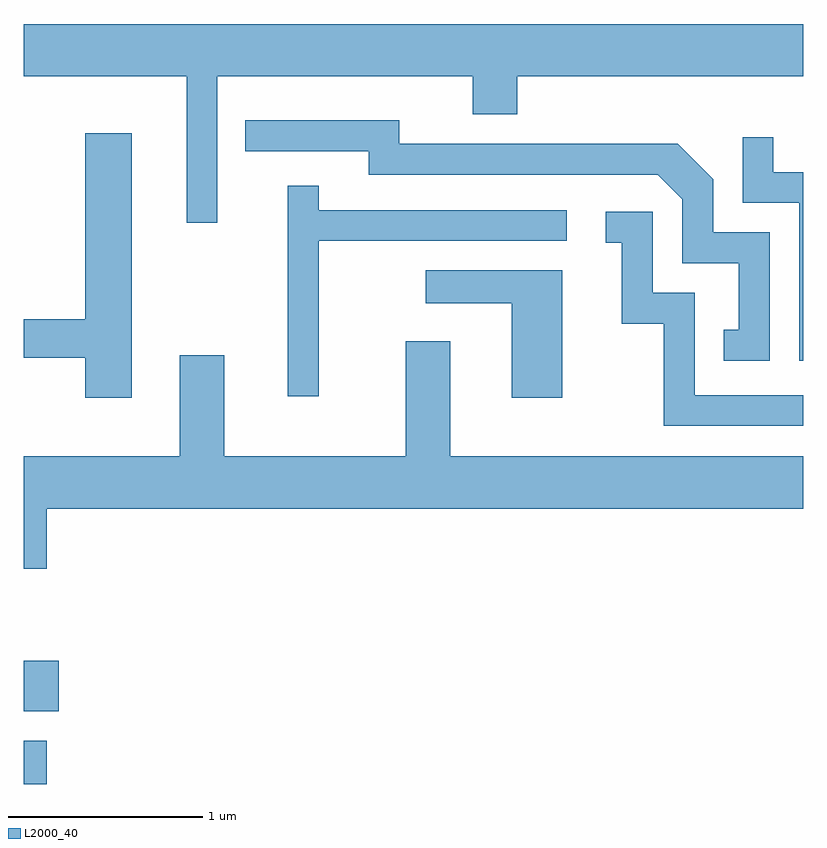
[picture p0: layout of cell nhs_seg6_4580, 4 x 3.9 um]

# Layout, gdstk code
import gdstk
lib = gdstk.Library(unit=1e-6, precision=1e-09)
def R(c, l, rs):  # rectangles x0, y0, x1, y1
    for r in rs: c.add(gdstk.rectangle(r[:2], r[2:], *l))
def P(c, l, *ps):  # polygons
    for p in ps: c.add(gdstk.Polygon(p, *l))
L2000_40 = (2000, 40)

nhs_seg6_4580 = lib.new_cell('nhs_seg6_4580')
R(nhs_seg6_4580, L2000_40, [(325.611,1564.162,325.729,1564.384), (325.611,1564.536,325.789,1564.794)])
P(nhs_seg6_4580, L2000_40, [(326.604,1567.796),(327.916,1567.796),(327.916,1567.601),(328.144,1567.601),(328.144,1567.796),(329.611,1567.796),(329.611,1568.064),(325.611,1568.064),(325.611,1567.796),(326.446,1567.796),(326.446,1567.043),(326.604,1567.043)],
  [(329.439,1566.994),(329.149,1566.994),(329.149,1567.267),(328.967,1567.449),(327.539,1567.449),(327.539,1567.569),(326.748,1567.569),(326.748,1567.411),(327.381,1567.411),(327.381,1567.291),(328.864,1567.291),(328.991,1567.164),(328.991,1566.836),(329.281,1566.836),(329.281,1566.494),(329.203,1566.494),(329.203,1566.336),(329.439,1566.336)],
  [(326.164,1567.504),(325.926,1567.504),(325.926,1566.549),(325.611,1566.549),(325.611,1566.351),(325.926,1566.351),(325.926,1566.146),(326.164,1566.146)],
  [(329.611,1567.304),(329.459,1567.304),(329.459,1567.483),(329.301,1567.483),(329.301,1567.146),(329.591,1567.146),(329.591,1566.336),(329.611,1566.336)],
  [(327.124,1566.951),(328.398,1566.951),(328.398,1567.109),(327.124,1567.109),(327.124,1567.233),(326.966,1567.233),(326.966,1566.153),(327.124,1566.153)],
  [(329.611,1566.159),(329.054,1566.159),(329.054,1566.684),(328.839,1566.684),(328.839,1567.099),(328.598,1567.099),(328.598,1566.941),(328.681,1566.941),(328.681,1566.526),(328.896,1566.526),(328.896,1566.001),(329.611,1566.001)],
  [(328.374,1566.799),(327.673,1566.799),(327.673,1566.631),(328.116,1566.631),(328.116,1566.146),(328.374,1566.146)],
  [(325.729,1565.576),(329.611,1565.576),(329.611,1565.844),(327.799,1565.844),(327.799,1566.434),(327.571,1566.434),(327.571,1565.844),(326.639,1565.844),(326.639,1566.364),(326.411,1566.364),(326.411,1565.844),(325.611,1565.844),(325.611,1565.266),(325.729,1565.266)])

lib.write_gds('nhs_seg6_4580.gds')
